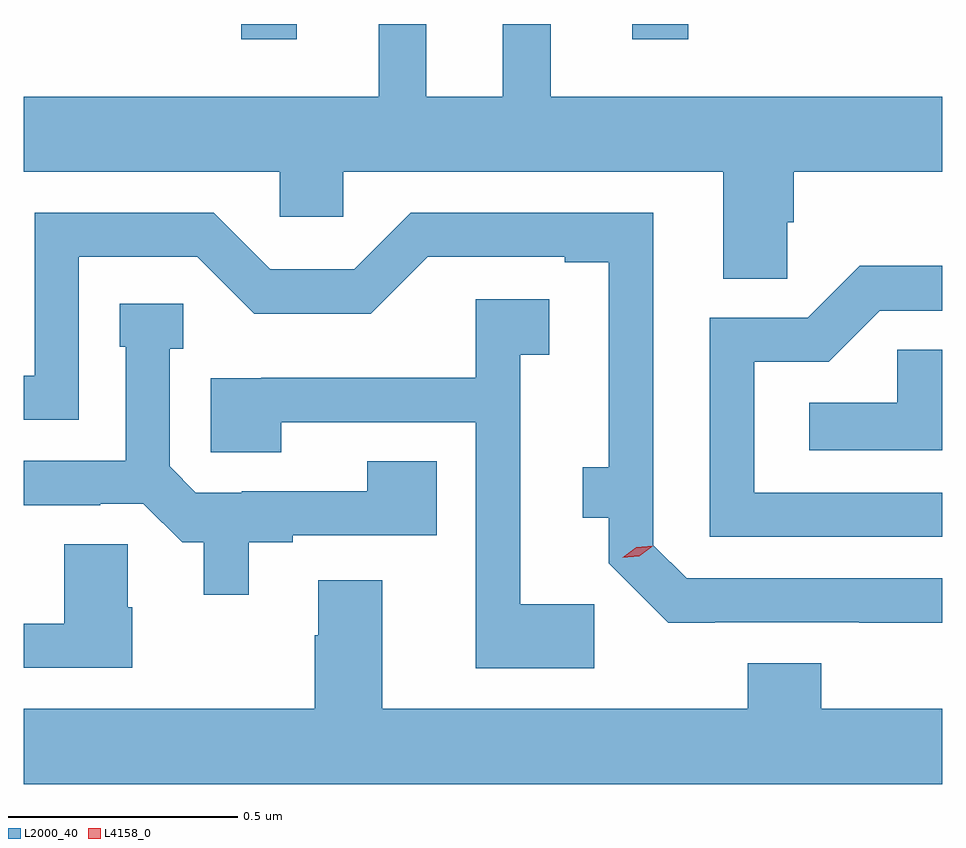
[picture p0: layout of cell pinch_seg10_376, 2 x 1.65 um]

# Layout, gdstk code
import gdstk
lib = gdstk.Library(unit=1e-6, precision=1e-09)
def R(c, l, rs):  # rectangles x0, y0, x1, y1
    for r in rs: c.add(gdstk.rectangle(r[:2], r[2:], *l))
def P(c, l, *ps):  # polygons
    for p in ps: c.add(gdstk.Polygon(p, *l))
L2000_40 = (2000, 40)
L4158_0 = (4158, 0)

pinch_seg10_376 = lib.new_cell('pinch_seg10_376')
R(pinch_seg10_376, L2000_40, [(459.864,1253.985,459.985,1254.018), (460.715,1253.985,460.837,1254.018)])
P(pinch_seg10_376, L2000_40, [(461.052,1253.587),(461.066,1253.587),(461.066,1253.696),(461.39,1253.696),(461.39,1253.86),(460.537,1253.86),(460.537,1254.018),(460.433,1254.018),(460.433,1253.86),(460.267,1253.86),(460.267,1254.018),(460.163,1254.018),(460.163,1253.86),(459.39,1253.86),(459.39,1253.696),(459.948,1253.696),(459.948,1253.598),(460.086,1253.598),(460.086,1253.696),(460.913,1253.696),(460.913,1253.464),(461.052,1253.464)],
  [(460.894,1252.716),(461.209,1252.716),(461.209,1252.715),(461.39,1252.715),(461.39,1252.812),(460.833,1252.812),(460.761,1252.884),(460.761,1253.607),(460.233,1253.607),(460.11,1253.484),(459.927,1253.484),(459.804,1253.607),(459.414,1253.607),(459.414,1253.253),(459.39,1253.253),(459.39,1253.157),(459.51,1253.157),(459.51,1253.511),(459.768,1253.511),(459.892,1253.387),(460.146,1253.387),(460.27,1253.511),(460.568,1253.511),(460.568,1253.499),(460.664,1253.499),(460.664,1253.053),(460.607,1253.053),(460.607,1252.943),(460.664,1252.943),(460.664,1252.844),(460.793,1252.715),(460.894,1252.715)],
  [(461.39,1252.998),(460.98,1252.998),(460.98,1253.283),(461.142,1253.283),(461.253,1253.394),(461.39,1253.394),(461.39,1253.492),(461.21,1253.492),(461.097,1253.379),(460.884,1253.379),(460.884,1252.902),(461.39,1252.902)],
  [(460.632,1252.755),(460.471,1252.755),(460.471,1253.298),(460.534,1253.298),(460.534,1253.419),(460.374,1253.419),(460.374,1253.248),(459.907,1253.248),(459.907,1253.247),(459.797,1253.247),(459.797,1253.086),(459.951,1253.086),(459.951,1253.151),(460.374,1253.151),(460.374,1252.616),(460.632,1252.616)],
  [(459.88,1252.89),(459.976,1252.89),(459.976,1252.905),(460.289,1252.905),(460.289,1253.066),(460.138,1253.066),(460.138,1253.001),(459.865,1253.001),(459.865,1252.998),(459.765,1252.998),(459.708,1253.055),(459.708,1253.311),(459.738,1253.311),(459.738,1253.409),(459.599,1253.409),(459.599,1253.316),(459.612,1253.316),(459.612,1253.067),(459.39,1253.067),(459.39,1252.971),(459.557,1252.971),(459.557,1252.974),(459.651,1252.974),(459.735,1252.89),(459.782,1252.89),(459.782,1252.776),(459.88,1252.776)],
  [(461.39,1253.309),(461.292,1253.309),(461.292,1253.194),(461.1,1253.194),(461.1,1253.09),(461.39,1253.09)],
  [(459.627,1252.749),(459.617,1252.749),(459.617,1252.886),(459.479,1252.886),(459.479,1252.713),(459.39,1252.713),(459.39,1252.617),(459.627,1252.617)],
  [(461.39,1252.528),(461.126,1252.528),(461.126,1252.627),(460.966,1252.627),(460.966,1252.528),(460.171,1252.528),(460.171,1252.807),(460.031,1252.807),(460.031,1252.688),(460.024,1252.688),(460.024,1252.528),(459.39,1252.528),(459.39,1252.364),(461.39,1252.364)])
P(pinch_seg10_376, L4158_0, [(460.693,1252.856),(460.693,1252.856),(460.693,1252.856),(460.723,1252.879),(460.76,1252.883),(460.76,1252.883),(460.76,1252.883),(460.73,1252.86)])

lib.write_gds('pinch_seg10_376.gds')
